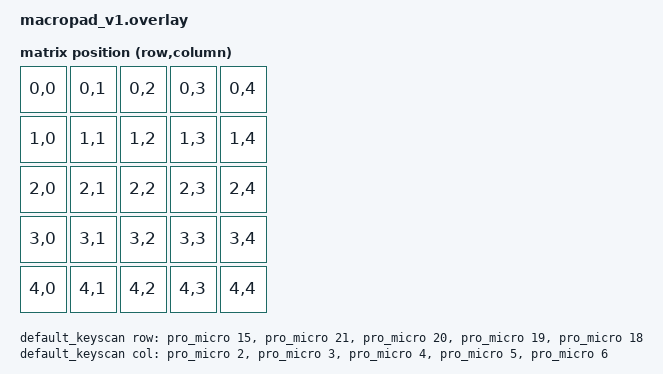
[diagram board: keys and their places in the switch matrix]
#include <dt-bindings/zmk/matrix_transform.h>

/ {
    chosen {
        zmk,kscan = &default_keyscan;
        zmk,matrix_transform = &default_transform;
    };

    default_keyscan: kscan {
        compatible = "zmk,kscan-gpio-matrix";
        label = "default_keyscan";
        diode-direction = "col2row";
        wakeup-source;

        row-gpios = <&pro_micro 15 (GPIO_ACTIVE_HIGH | GPIO_PULL_DOWN)>,
                    <&pro_micro 21 (GPIO_ACTIVE_HIGH | GPIO_PULL_DOWN)>,
                    <&pro_micro 20 (GPIO_ACTIVE_HIGH | GPIO_PULL_DOWN)>,
                    <&pro_micro 19 (GPIO_ACTIVE_HIGH | GPIO_PULL_DOWN)>,
                    <&pro_micro 18 (GPIO_ACTIVE_HIGH | GPIO_PULL_DOWN)>;
        col-gpios = <&pro_micro 2 GPIO_ACTIVE_HIGH>,
                    <&pro_micro 3 GPIO_ACTIVE_HIGH>,
                    <&pro_micro 4 GPIO_ACTIVE_HIGH>,
                    <&pro_micro 5 GPIO_ACTIVE_HIGH>,
                    <&pro_micro 6 GPIO_ACTIVE_HIGH>;
    };

    default_transform: matrix_transform {
        compatible = "zmk,matrix-transform";
        columns = <1>;
        rows = <1>;

        map = <
            RC(0,0) RC(0,1) RC(0,2) RC(0,3) RC(0,4)
            RC(1,0) RC(1,1) RC(1,2) RC(1,3) RC(1,4)
            RC(2,0) RC(2,1) RC(2,2) RC(2,3) RC(2,4)
            RC(3,0) RC(3,1) RC(3,2) RC(3,3) RC(3,4)
            RC(4,0) RC(4,1) RC(4,2) RC(4,3) RC(4,4)
        >;
    };

    macros {
        display1: display1 {
            compatible = "zmk,behavior-macro";
            #binding-cells = <0>;
            bindings =  <&macro_press &kp LCTL>,
                        <&macro_tap &kp 1>,
                        <&macro_release &kp LCTL>,
                        <&macro_press &kp LCTL>,
                        <&macro_tap &kp 6>,
                        <&macro_release &kp LCTL>;
        };
    };
    
};
